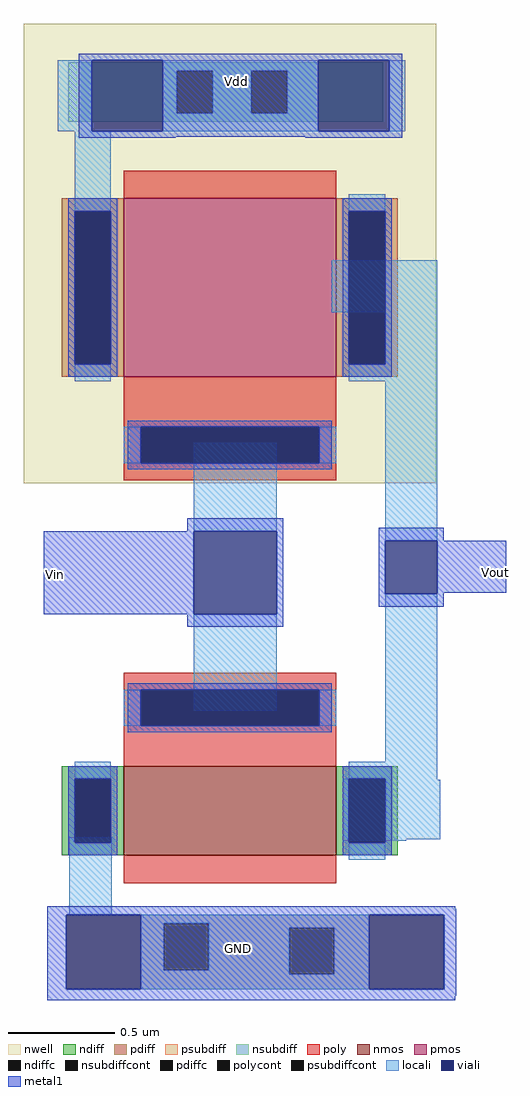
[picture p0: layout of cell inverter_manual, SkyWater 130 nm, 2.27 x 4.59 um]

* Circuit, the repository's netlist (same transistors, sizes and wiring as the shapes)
* SPICE3 file created from inverter_manual.ext - technology: sky130A
.lib /home/pramit/work/open_pdks/sky130/sky130A/libs.tech/ngspice/sky130.lib.spice tt

X0 Vout Vin GND GND sky130_fd_pr__nfet_01v8 ad=1.218e+11p pd=1.42e+06u as=1.218e+11p ps=1.42e+06u w=420000u l=1e+06u
X1 Vout Vin Vdd Vdd sky130_fd_pr__pfet_01v8 ad=2.436e+11p pd=2.26e+06u as=2.436e+11p ps=2.26e+06u w=840000u l=1e+06u


Vin Vin GND pulse(0 1.8 1n 1n 1n 4n 10n)
V2 Vdd GND 1.8


.tran 0.01n 60n
.control
run
.endc
.end

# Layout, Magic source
magic
tech sky130A
magscale 1 2
<< nwell >>
rect -60 62 328 176
rect -46 60 -40 62
rect -60 48 -40 60
rect 268 48 328 62
<< psubdiff >>
rect -20 -670 336 -662
rect -20 -714 72 -670
rect 114 -674 336 -670
rect 114 -714 190 -674
rect -20 -718 190 -714
rect 232 -718 336 -674
rect -20 -732 336 -718
<< nsubdiff >>
rect -18 132 278 140
rect -18 92 84 132
rect 118 92 154 132
rect 188 92 278 132
rect -18 84 278 92
<< psubdiffcont >>
rect 72 -714 114 -670
rect 190 -718 232 -674
<< nsubdiffcont >>
rect 84 92 118 132
rect 154 92 188 132
<< locali >>
rect -28 75 4 142
rect 71 132 217 142
rect 71 92 84 132
rect 118 92 154 132
rect 188 92 217 132
rect 71 75 217 92
rect 284 75 299 142
rect -12 2 22 75
rect 230 -95 329 -46
rect 100 -301 178 -218
rect 100 -470 178 -379
rect 280 -310 329 -95
rect 280 -534 329 -360
rect 240 -535 329 -534
rect -17 -662 23 -589
rect 240 -591 332 -535
rect 240 -592 300 -591
rect 50 -670 265 -662
rect 50 -714 72 -670
rect 114 -674 265 -670
rect 114 -714 190 -674
rect 50 -718 190 -714
rect 232 -718 265 -674
rect 50 -732 265 -718
rect 335 -732 336 -662
<< viali >>
rect 4 75 71 142
rect 217 75 284 142
rect 100 -379 178 -301
rect 280 -360 329 -310
rect -20 -732 50 -662
rect 265 -732 335 -662
<< metal1 >>
rect -8 142 296 148
rect -8 75 4 142
rect 71 75 217 142
rect 284 75 296 142
rect -8 70 296 75
rect -8 69 83 70
rect 205 69 296 70
rect 94 -301 184 -289
rect -41 -379 100 -301
rect 178 -379 184 -301
rect 274 -310 335 -298
rect 274 -360 280 -310
rect 329 -359 394 -310
rect 329 -360 335 -359
rect 274 -372 335 -360
rect 94 -391 184 -379
rect -38 -656 346 -654
rect -38 -662 347 -656
rect -38 -732 -20 -662
rect 50 -732 265 -662
rect 335 -732 347 -662
rect -38 -738 347 -732
rect -38 -742 346 -738
use sky130_fd_pr__nfet_01v8_UEAQL8  sky130_fd_pr__nfet_01v8_UEAQL8_0
transform 1 0 134 0 1 -533
box -158 -99 158 99
use sky130_fd_pr__pfet_01v8_RDZKMP  sky130_fd_pr__pfet_01v8_RDZKMP_0
transform 1 0 134 0 1 -108
box -194 -148 194 182
<< labels >>
flabel metal1 -30 -342 -30 -342 0 FreeSans 320 0 0 0 Vin
port 5 nsew
flabel metal1 384 -340 384 -340 1 FreeSans 320 0 0 0 Vout
port 8 n
flabel metal1 s 140 122 140 122 1 FreeSans 320 0 0 0 Vdd
port 12 n
flabel metal1 s 142 -694 142 -694 1 FreeSans 320 0 0 0 GND
port 16 n
<< end >>

# cell sky130_fd_pr__nfet_01v8_UEAQL8: kit device sky130_fd_pr__nfet_01v8, w 0.420 l 1 m 1 nf 1 diffcov 100 polycov 100 guard 0 glc 1 grc 1 gtc 1 gbc 1 tbcov 100 rlcov 100 topc 1 botc 0 poverlap 0 doverlap 1 lmin 0.15 wmin 0.42 compatible {sky130_fd_pr__nfet_01v8 sky130_fd_pr__nfet_01v8_lvt sky130_fd_bs_flash__special_sonosfet_star sky130_fd_pr__nfet_g5v0d10v5 sky130_fd_pr__nfet_05v0_nvt sky130_fd_pr__nfet_03v3_nvt} full_metal 1 viasrc 100 viadrn 100 viagate 100 viagb 0 viagr 0 viagl 0 viagt 0

# cell sky130_fd_pr__pfet_01v8_RDZKMP: kit device sky130_fd_pr__pfet_01v8, w 0.84 l 1 m 1 nf 1 diffcov 100 polycov 100 guard 0 glc 1 grc 1 gtc 1 gbc 1 tbcov 100 rlcov 100 topc 0 botc 1 poverlap 0 doverlap 1 lmin 0.15 wmin 0.42 compatible {sky130_fd_pr__pfet_01v8 sky130_fd_pr__pfet_01v8_lvt sky130_fd_pr__pfet_01v8_hvt sky130_fd_pr__pfet_g5v0d10v5} full_metal 1 viasrc 100 viadrn 100 viagate 100 viagb 0 viagr 0 viagl 0 viagt 0
